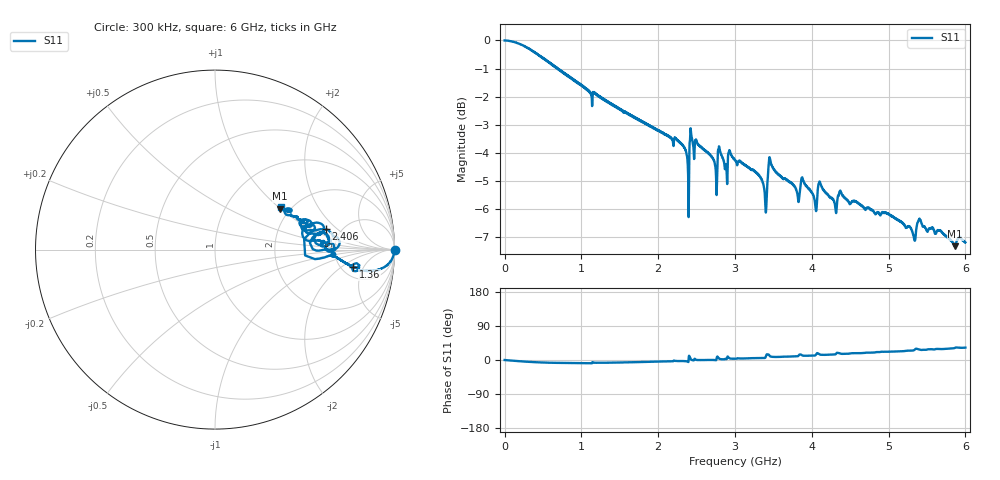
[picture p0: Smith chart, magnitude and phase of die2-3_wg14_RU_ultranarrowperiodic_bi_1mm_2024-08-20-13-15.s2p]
!Keysight Technologies,P9374A,MY57304198,A.17.20.09
!Date: Tuesday, August 20, 2024 13:15:21
!Correction: S11(C  1-Port  )
!S21(C  1-Port  )
!S12(Off)
!S22(Off)
!S2P File: Measurements: S11, S21, S12, S22:
# Hz S  dB  R 50
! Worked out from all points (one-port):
!   6000 points, 300 kHz to 6 GHz, reference 50 ohm
!   lowest |S11| = -7.3 dB at 5.866 GHz (marker M1), VSWR 2.51, Z = 89.2 + j50.1 ohm
!   |S11| at or under -10 dB: nowhere
!   S11 on the Smith chart (normalised r, x): 300 kHz: open; 1.36 GHz: 6.40, -3.07; 2.406 GHz: 3.79, +1.41; 6 GHz: 1.78, +1.04
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300000  0.00 -0.0  -200.00 45.0  -200.00 45.0  -200.00 45.0
4.343506e8  -0.50 -6.0  -200.00 45.0  -200.00 45.0  -200.00 45.0
1.000417e9  -1.60 -8.1  -200.00 45.0  -200.00 45.0  -200.00 45.0
1.360459e9  -2.21 -7.1  -200.00 45.0  -200.00 45.0  -200.00 45.0
2.000533e9  -3.22 -4.1  -200.00 45.0  -200.00 45.0  -200.00 45.0
2.364576e9  -3.97 -3.3  -200.00 45.0  -200.00 45.0  -200.00 45.0
2.405581e9  -4.07 10.4  -200.00 45.0  -200.00 45.0  -200.00 45.0
2.436584e9  -3.47 0.2  -200.00 45.0  -200.00 45.0  -200.00 45.0
2.74362e9  -4.48 -0.3  -200.00 45.0  -200.00 45.0  -200.00 45.0
2.804627e9  -3.94 2.6  -200.00 45.0  -200.00 45.0  -200.00 45.0
2.876636e9  -4.43 3.5  -200.00 45.0  -200.00 45.0  -200.00 45.0
3.00065e9  -4.26 3.4  -200.00 45.0  -200.00 45.0  -200.00 45.0
3.367693e9  -5.11 5.3  -200.00 45.0  -200.00 45.0  -200.00 45.0
3.401697e9  -6.14 9.7  -200.00 45.0  -200.00 45.0  -200.00 45.0
3.433701e9  -4.60 14.8  -200.00 45.0  -200.00 45.0  -200.00 45.0
3.528712e9  -4.67 8.0  -200.00 45.0  -200.00 45.0  -200.00 45.0
4.000767e9  -5.43 11.6  -200.00 45.0  -200.00 45.0  -200.00 45.0
4.086777e9  -5.13 16.6  -200.00 45.0  -200.00 45.0  -200.00 45.0
4.204791e9  -5.50 13.8  -200.00 45.0  -200.00 45.0  -200.00 45.0
5.000883e9  -6.19 21.8  -200.00 45.0  -200.00 45.0  -200.00 45.0
5.865984e9  -7.34 32.2  -200.00 45.0  -200.00 45.0  -200.00 45.0
6e9  -7.20 32.7  -200.00 45.0  -200.00 45.0  -200.00 45.0
